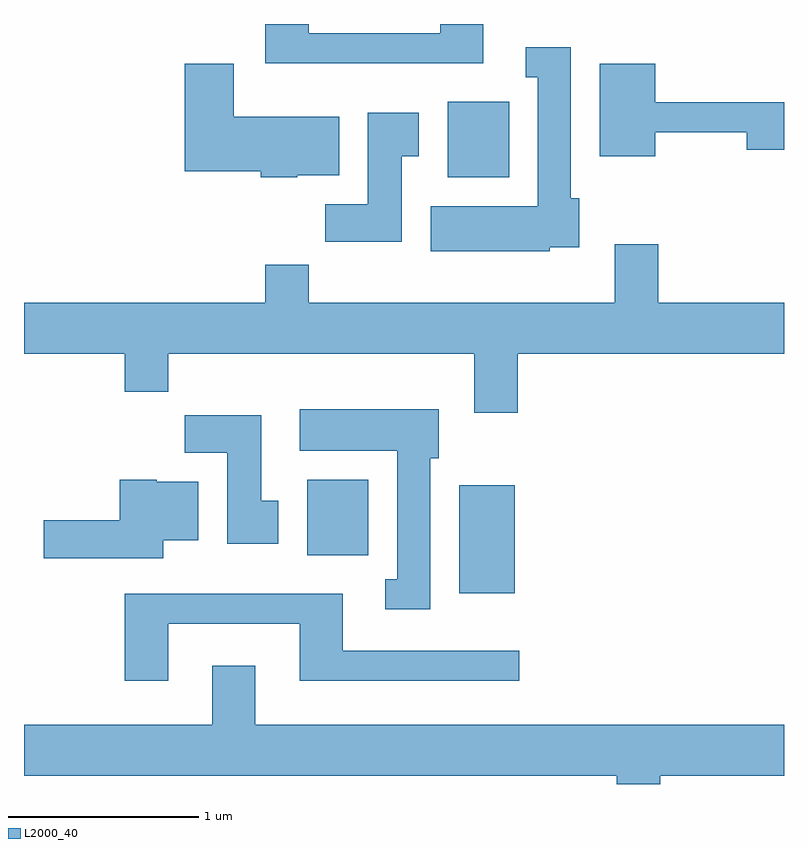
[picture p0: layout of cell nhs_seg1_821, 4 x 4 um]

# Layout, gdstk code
import gdstk
lib = gdstk.Library(unit=1e-6, precision=1e-09)
def R(c, l, rs):  # rectangles x0, y0, x1, y1
    for r in rs: c.add(gdstk.rectangle(r[:2], r[2:], *l))
def P(c, l, *ps):  # polygons
    for p in ps: c.add(gdstk.Polygon(p, *l))
L2000_40 = (2000, 40)

nhs_seg1_821 = lib.new_cell('nhs_seg1_821')
R(nhs_seg1_821, L2000_40, [(211.901,942.716,212.194,943.284), (211.101,942.916,211.424,943.314), (211.841,944.906,212.164,945.304)])
P(nhs_seg1_821, L2000_40, [(212.029,945.712),(211.801,945.712),(211.801,945.664),(211.109,945.664),(211.109,945.712),(210.881,945.712),(210.881,945.506),(212.029,945.506)],
  [(212.379,944.536),(212.534,944.536),(212.534,944.794),(212.489,944.794),(212.489,945.589),(212.253,945.589),(212.253,945.431),(212.316,945.431),(212.316,944.754),(211.751,944.754),(211.751,944.516),(212.379,944.516)],
  [(211.05,944.916),(211.269,944.916),(211.269,945.224),(210.714,945.224),(210.714,945.504),(210.456,945.504),(210.456,944.936),(210.856,944.936),(210.856,944.906),(211.05,944.906)],
  [(212.934,945.141),(213.416,945.141),(213.416,945.051),(213.611,945.051),(213.611,945.299),(212.934,945.299),(212.934,945.504),(212.641,945.504),(212.641,945.016),(212.934,945.016)],
  [(211.599,945.016),(211.689,945.016),(211.689,945.244),(211.421,945.244),(211.421,944.764),(211.196,944.764),(211.196,944.566),(211.599,944.566)],
  [(212.209,943.976),(213.611,943.976),(213.611,944.244),(212.949,944.244),(212.949,944.554),(212.721,944.554),(212.721,944.244),(211.109,944.244),(211.109,944.444),(210.881,944.444),(210.881,944.244),(209.611,944.244),(209.611,943.976),(210.141,943.976),(210.141,943.776),(210.369,943.776),(210.369,943.976),(211.981,943.976),(211.981,943.666),(212.209,943.666)],
  [(211.749,943.426),(211.794,943.426),(211.794,943.684),(211.061,943.684),(211.061,943.466),(211.576,943.466),(211.576,942.789),(211.513,942.789),(211.513,942.631),(211.749,942.631)],
  [(210.949,943.204),(210.859,943.204),(210.859,943.654),(210.456,943.654),(210.456,943.456),(210.681,943.456),(210.681,942.976),(210.949,942.976)],
  [(210.344,942.996),(210.529,942.996),(210.529,943.304),(210.31,943.304),(210.31,943.314),(210.116,943.314),(210.116,943.099),(209.716,943.099),(209.716,942.901),(210.344,942.901)],
  [(210.369,942.556),(211.061,942.556),(211.061,942.256),(212.218,942.256),(212.218,942.414),(211.289,942.414),(211.289,942.714),(210.141,942.714),(210.141,942.256),(210.369,942.256)],
  [(212.959,941.756),(213.611,941.756),(213.611,942.024),(210.829,942.024),(210.829,942.334),(210.601,942.334),(210.601,942.024),(209.611,942.024),(209.611,941.756),(212.731,941.756),(212.731,941.712),(212.959,941.712)])

lib.write_gds('nhs_seg1_821.gds')
